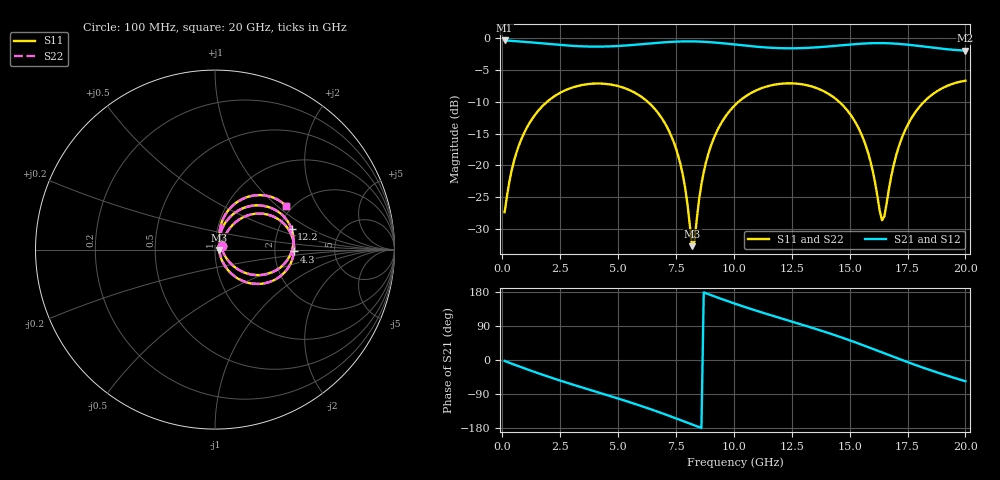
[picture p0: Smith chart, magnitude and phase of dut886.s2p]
! Touchstone file exported from HFSS 2026.1.0
!  File:  C:/ffzhzh/LocalFiles/Ansys_Project_Files/temp_train_TSV_RDL_886_1783274394_5512.aedt
!  Generated:  02:15:07 AM Jul  6, 2026
!  Design:  TSV_RDL
!  Project:  temp_train_TSV_RDL_886_1783274394_5512
! Variables:
!  h_bsmrdl = 2.53um
!  h_ox = 20um
!  h_rdl = 5um
!  h_sub = 87.92um
!  h_tmrdl = 2.69um
!  h_tsv = 87.92um
!  h_via = 3um
!  l_bsmrdl = 908.53um
!  l_sub = 6760.89um
!  l_tmrdl = 873.65um
!  m_sub = 200um
!  pitch = 44.99um
!  r_tsv = 13.4um
!  s_tmrdl = 10um
!  w_bsmrdl = 27.09um
!  w_sub = 500um
!  w_tmrdl = 19.81um
!  x_tsv_center1 = 883.555um
!  x_tsv_center2 = 1819.175um
!  x_tsv_center3 = 2712.635um
!  x_tsv_center4 = 3648.255um
!  x_tsv_center5 = 4541.715um
!  x_tsv_center6 = 5477.335um
# GHz S MA R 50.000000
! Terminal data exported
! Port[1] = TM_RDL1_1_T1
! Port[2] = TM_RDL5_1_T1
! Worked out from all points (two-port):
!   200 points, 100 MHz to 20 GHz, reference 50 ohm
!   highest |S21| = -0.33 dB at 100 MHz (marker M1); lowest = -1.9 dB at 20 GHz (marker M2)
!   |S21| within 3 dB of the highest: start of sweep to end of sweep
!   lowest |S11| = -32.7 dB at 8.2 GHz (marker M3), VSWR 1.05, Z = 52.3 - j0.386 ohm
!   |S11| at or under -10 dB: start of sweep to 1.935 GHz; 6.282 GHz to 10.2 GHz (3.92 GHz wide, 47.6 % of centre); 14.55 GHz to 18.21 GHz (3.663 GHz wide, 22.4 % of centre)
!   |S22| runs from -32.5 to -6.7 dB; largest |S21 - S12| = 1.7e-14
!   S11 on the Smith chart (normalised r, x): 100 MHz: 1.08, +0.04; 4.3 GHz: 2.57, -0.07; 12.2 GHz: 2.35, +0.67; 20 GHz: 1.84, +1.14
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0.1  0.04274 27.6  0.9628 -2.5  0.9628 -2.5  0.04274 27.6
! Gamma 0 0 0 0
! Port Impedance 50 0 50 0
0.5  0.1073 54.8  0.9526 -11.8  0.9526 -11.8  0.1073 54.9
1.2  0.2191 50.8  0.9313 -27.4  0.9313 -27.4  0.2191 50.8
3.5  0.4309 12.5  0.8646 -73.5  0.8646 -73.5  0.4308 12.5
4.3  0.44 -1.4  0.8617 -88.4  0.8617 -88.4  0.44 -1.3
5.6  0.3833 -24.5  0.8859 -113.3  0.8859 -113.3  0.3833 -24.4
6.8  0.2481 -46.8  0.9251 -138.3  0.9251 -138.3  0.248 -46.6
7.7  0.1011 -58.8  0.9451 -158.6  0.9451 -158.6  0.1011 -58.4
8.2  0.02306 -9.2  0.9466 -170.2  0.9466 -170.2  0.02382 -8.3
8.3  0.02519 33.7  0.9459 -172.5  0.9459 -172.5  0.02598 33.1
8.6  0.07103 70.2  0.942 -179.4  0.942 -179.4  0.07142 69.6
8.9  0.1234 71.4  0.9353 173.7  0.9353 173.7  0.1237 71.0
10.1  0.3041 52.3  0.8921 147.5  0.8921 147.5  0.3043 52.1
12.2  0.4415 15.1  0.8357 107.0  0.8357 107.0  0.4415 15.0
13.4  0.4159 -5.5  0.8456 84.6  0.8456 84.6  0.4159 -5.6
15.4  0.1939 -39.1  0.9058 43.1  0.9058 43.1  0.1938 -39.1
15.9  0.1076 -41.0  0.9155 31.7  0.9155 31.7  0.1076 -41.0
16.4  0.03692 10.5  0.9175 20.0  0.9175 20.0  0.03721 10.7
16.7  0.06537 67.1  0.9144 12.9  0.9144 12.9  0.06562 66.8
17.2  0.1541 76.3  0.9027 1.3  0.9027 1.3  0.1543 76.1
17.8  0.256 69.0  0.8802 -12.2  0.8802 -12.2  0.2561 68.8
20  0.4637 31.7  0.801 -56.1  0.801 -56.1  0.4638 31.6
